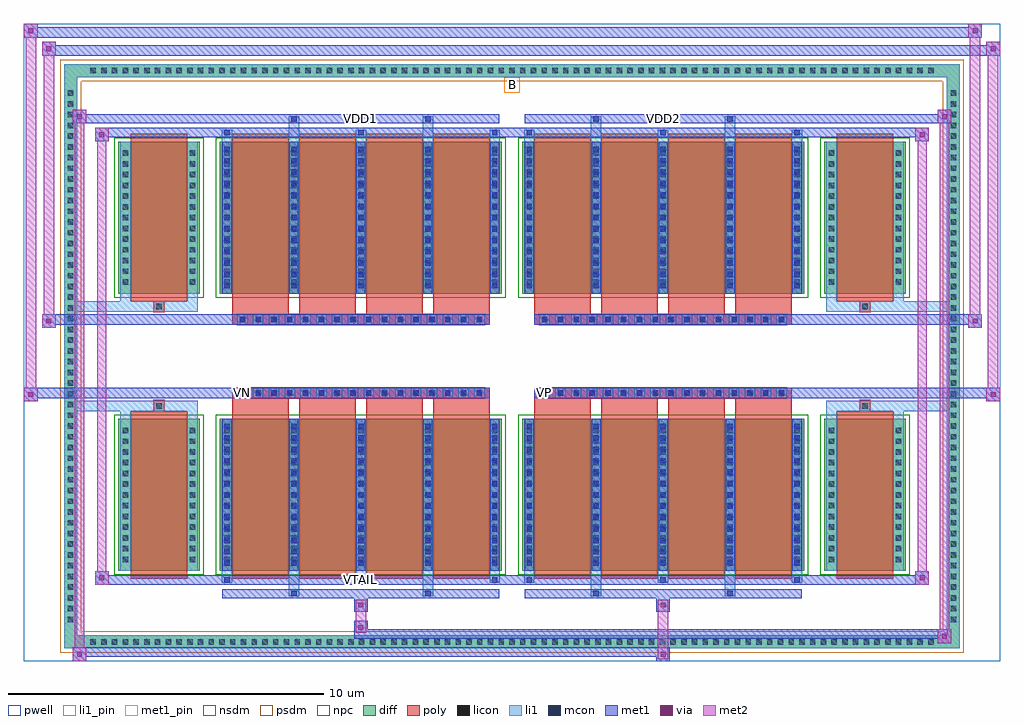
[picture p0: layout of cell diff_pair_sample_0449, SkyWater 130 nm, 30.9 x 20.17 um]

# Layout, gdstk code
import gdstk
lib = gdstk.Library(unit=1e-6, precision=5e-09)
def R(c, l, rs):  # rectangles x0, y0, x1, y1
    for r in rs: c.add(gdstk.rectangle(r[:2], r[2:], *l))
def A(c, l, x, y, w, h, nx, ny, dx, dy):  # array of equal rectangles
    R(c, l, [(x+i*dx, y+j*dy, x+i*dx+w, y+j*dy+h) for i in range(nx) for j in range(ny)])
def P(c, l, *ps):  # polygons
    for p in ps: c.add(gdstk.Polygon(p, *l))
pwell = (64, 44)
diff = (65, 20)
poly = (66, 20)
licon = (66, 44)
li1_pin = (67, 16)
li1 = (67, 20)
mcon = (67, 44)
met1_pin = (68, 16)
met1 = (68, 20)
via = (68, 44)
met2 = (69, 20)
nsdm = (93, 44)
psdm = (94, 20)
npc = (95, 20)

diff_pair_sample_0449 = lib.new_cell('diff_pair_sample_0449')
R(diff_pair_sample_0449, pwell, [(-15.45,-9.65,15.45,10.52), (-12.77,-7.84,-0.01,-0.8), (0.01,-7.84,12.77,-0.8), (-12.77,0.8,-0.01,7.84), (0.01,0.8,12.77,7.84)])
A(diff_pair_sample_0449, diff, -13.465, -9.25, 0.41, 0.41, 79, 2, 0.34, 18.09)
A(diff_pair_sample_0449, diff, -14.18, -8.535, 0.41, 0.41, 1, 50, 0, 0.34)
A(diff_pair_sample_0449, diff, 13.77, -8.535, 0.41, 0.41, 1, 50, 0, 0.34)
R(diff_pair_sample_0449, diff, [(-13.465,-9.25,13.465,-8.84), (-14.18,-8.535,-13.77,8.535), (13.77,-8.535,14.18,8.535), (-12.46,-6.795,-9.89,-1.985), (-9.25,-6.795,-0.32,-1.985), (0.32,-6.795,9.25,-1.985), (9.89,-6.795,12.46,-1.985), (-12.46,1.985,-9.89,6.795), (-9.25,1.985,-0.32,6.795), (0.32,1.985,9.25,6.795), (9.89,1.985,12.46,6.795), (-13.465,8.84,13.465,9.25)])
P(diff_pair_sample_0449, diff, [(14.18,9.25),(-14.18,9.25),(-14.18,-8.84),(-13.77,-8.84),(-13.77,8.84),(13.77,8.84),(13.77,-8.84),(-13.77,-8.84),(-14.18,-8.84),(-14.18,-9.25),(14.18,-9.25)])
A(diff_pair_sample_0449, poly, -8.86, -7.045, 1.79, 5.31, 4, 2, 2.12, 8.78)
A(diff_pair_sample_0449, poly, 0.71, -7.045, 1.79, 5.31, 4, 2, 2.12, 8.78)
A(diff_pair_sample_0449, poly, -8.86, -1.735, 1.79, 0.405, 4, 2, 2.12, 3.065)
A(diff_pair_sample_0449, poly, 0.71, -1.735, 1.79, 0.405, 4, 2, 2.12, 3.065)
A(diff_pair_sample_0449, poly, -8.7, -1.33, 0.33, 0.33, 16, 2, 0.5, 2.33)
A(diff_pair_sample_0449, poly, 0.87, -1.33, 0.33, 0.33, 16, 2, 0.5, 2.33)
R(diff_pair_sample_0449, poly, [(-12.07,-7.045,-10.28,-1.735), (10.28,-7.045,12.07,-1.735), (-11.34,-1.735,-11.01,-1.405), (-11.34,-1.735,-11.01,-1.405), (11.01,-1.735,11.34,-1.405), (11.01,-1.735,11.34,-1.405), (-8.86,-1.33,-0.71,-1), (0.71,-1.33,8.86,-1), (-8.86,1,-0.71,1.33), (0.71,1,8.86,1.33), (-11.34,1.405,-11.01,1.735), (-11.34,1.405,-11.01,1.735), (11.01,1.405,11.34,1.735), (11.01,1.405,11.34,1.735), (-12.07,1.735,-10.28,7.045), (10.28,1.735,12.07,7.045)])
A(diff_pair_sample_0449, licon, -13.345, -9.13, 0.17, 0.17, 79, 2, 0.34, 18.09)
A(diff_pair_sample_0449, licon, -14.06, -8.415, 0.17, 0.17, 1, 50, 0, 0.34)
A(diff_pair_sample_0449, licon, 13.89, -8.415, 0.17, 0.17, 1, 50, 0, 0.34)
A(diff_pair_sample_0449, licon, -12.32, -6.515, 0.17, 0.17, 1, 13, 0, 0.34)
A(diff_pair_sample_0449, licon, -10.2, -6.515, 0.17, 0.17, 1, 13, 0, 0.34)
A(diff_pair_sample_0449, licon, -9.11, -6.515, 0.17, 0.17, 5, 13, 2.12, 0.34)
A(diff_pair_sample_0449, licon, 0.46, -6.515, 0.17, 0.17, 5, 13, 2.12, 0.34)
A(diff_pair_sample_0449, licon, 10.03, -6.515, 0.17, 0.17, 1, 13, 0, 0.34)
A(diff_pair_sample_0449, licon, 12.15, -6.515, 0.17, 0.17, 1, 13, 0, 0.34)
A(diff_pair_sample_0449, licon, -8.62, -1.25, 0.17, 0.17, 16, 2, 0.5, 2.33)
A(diff_pair_sample_0449, licon, 0.95, -1.25, 0.17, 0.17, 16, 2, 0.5, 2.33)
A(diff_pair_sample_0449, licon, -12.32, 2.265, 0.17, 0.17, 1, 13, 0, 0.34)
A(diff_pair_sample_0449, licon, -10.2, 2.265, 0.17, 0.17, 1, 13, 0, 0.34)
A(diff_pair_sample_0449, licon, -9.11, 2.265, 0.17, 0.17, 5, 13, 2.12, 0.34)
A(diff_pair_sample_0449, licon, 0.46, 2.265, 0.17, 0.17, 5, 13, 2.12, 0.34)
A(diff_pair_sample_0449, licon, 10.03, 2.265, 0.17, 0.17, 1, 13, 0, 0.34)
A(diff_pair_sample_0449, licon, 12.15, 2.265, 0.17, 0.17, 1, 13, 0, 0.34)
R(diff_pair_sample_0449, licon, [(-11.26,-1.655,-11.09,-1.485), (11.09,-1.655,11.26,-1.485), (-11.26,1.485,-11.09,1.655), (11.09,1.485,11.26,1.655)])
R(diff_pair_sample_0449, li1_pin, [(-0.25,8.34,0.25,8.84)])
A(diff_pair_sample_0449, li1, -13.425, -9.21, 0.33, 0.33, 79, 2, 0.34, 18.09)
A(diff_pair_sample_0449, li1, -14.14, -8.495, 0.33, 0.33, 1, 50, 0, 0.34)
A(diff_pair_sample_0449, li1, 13.81, -8.495, 0.33, 0.33, 1, 50, 0, 0.34)
A(diff_pair_sample_0449, li1, -9.19, -7.17, 0.33, 0.375, 3, 2, 4.24, 13.965)
A(diff_pair_sample_0449, li1, -9.11, -7.17, 0.17, 0.17, 3, 2, 4.24, 14.17)
A(diff_pair_sample_0449, li1, 0.38, -7.17, 0.33, 0.375, 3, 2, 4.24, 13.965)
A(diff_pair_sample_0449, li1, 0.46, -7.17, 0.17, 0.17, 3, 2, 4.24, 14.17)
A(diff_pair_sample_0449, li1, -9.19, -6.795, 0.33, 4.81, 5, 2, 2.12, 8.78)
A(diff_pair_sample_0449, li1, 0.38, -6.795, 0.33, 4.81, 5, 2, 2.12, 8.78)
A(diff_pair_sample_0449, li1, -9.11, -6.635, 0.17, 0.17, 5, 13, 2.12, 0.36)
A(diff_pair_sample_0449, li1, -9.11, -6.635, 0.17, 4.49, 5, 2, 2.12, 8.78)
A(diff_pair_sample_0449, li1, 0.46, -6.635, 0.17, 0.17, 5, 13, 2.12, 0.36)
A(diff_pair_sample_0449, li1, 0.46, -6.635, 0.17, 4.49, 5, 2, 2.12, 8.78)
A(diff_pair_sample_0449, li1, -12.4, -6.595, 0.33, 0.33, 1, 13, 0, 0.34)
A(diff_pair_sample_0449, li1, -10.28, -6.595, 0.33, 0.33, 1, 13, 0, 0.34)
A(diff_pair_sample_0449, li1, -9.19, -6.595, 0.33, 0.33, 5, 13, 2.12, 0.34)
A(diff_pair_sample_0449, li1, 0.38, -6.595, 0.33, 0.33, 5, 13, 2.12, 0.34)
A(diff_pair_sample_0449, li1, 9.95, -6.595, 0.33, 0.33, 1, 13, 0, 0.34)
A(diff_pair_sample_0449, li1, 12.07, -6.595, 0.33, 0.33, 1, 13, 0, 0.34)
A(diff_pair_sample_0449, li1, -8.7, -1.33, 0.33, 0.33, 16, 2, 0.5, 2.33)
A(diff_pair_sample_0449, li1, 0.87, -1.33, 0.33, 0.33, 16, 2, 0.5, 2.33)
A(diff_pair_sample_0449, li1, -9.11, 2.145, 0.17, 0.17, 5, 13, 2.12, 0.36)
A(diff_pair_sample_0449, li1, 0.46, 2.145, 0.17, 0.17, 5, 13, 2.12, 0.36)
A(diff_pair_sample_0449, li1, -12.4, 2.185, 0.33, 0.33, 1, 13, 0, 0.34)
A(diff_pair_sample_0449, li1, -10.28, 2.185, 0.33, 0.33, 1, 13, 0, 0.34)
A(diff_pair_sample_0449, li1, -9.19, 2.185, 0.33, 0.33, 5, 13, 2.12, 0.34)
A(diff_pair_sample_0449, li1, 0.38, 2.185, 0.33, 0.33, 5, 13, 2.12, 0.34)
A(diff_pair_sample_0449, li1, 9.95, 2.185, 0.33, 0.33, 1, 13, 0, 0.34)
A(diff_pair_sample_0449, li1, 12.07, 2.185, 0.33, 0.33, 1, 13, 0, 0.34)
R(diff_pair_sample_0449, li1, [(-14.18,-9.25,-13.77,-8.84), (-14.18,-9.25,-13.77,-8.84), (-13.77,-9.25,13.77,-8.84), (13.77,-9.25,14.18,-8.84), (13.77,-9.25,14.18,-8.84), (-14.18,-8.84,-13.77,8.84), (13.77,-8.84,14.18,8.84), (-7.07,-7.6,-6.74,-6.795), (-6.99,-7.6,-6.82,-7.43), (-2.83,-7.6,-2.5,-6.795), (-2.75,-7.6,-2.58,-7.43), (2.5,-7.6,2.83,-6.795), (2.58,-7.6,2.75,-7.43), (6.74,-7.6,7.07,-6.795), (6.82,-7.6,6.99,-7.43), (-12.4,-6.795,-12.07,-1.985), (-10.28,-6.795,-9.95,-1.985), (9.95,-6.795,10.28,-1.985), (12.07,-6.795,12.4,-1.985), (-12.4,-1.985,-12.07,-1.405), (-10.28,-1.985,-9.95,-1.405), (9.95,-1.985,10.28,-1.405), (12.07,-1.985,12.4,-1.405), (-14.18,-1.735,-11.34,-1.405), (-12.4,-1.735,-11.34,-1.405), (-11.34,-1.735,-11.01,-1.405), (-11.01,-1.735,-9.95,-1.405), (9.95,-1.735,11.01,-1.405), (11.01,-1.735,11.34,-1.405), (11.01,-1.735,14.18,-1.405), (11.34,-1.735,12.4,-1.405), (-14.18,1.405,-11.34,1.735), (-12.4,1.405,-11.34,1.735), (-12.4,1.405,-12.07,1.985), (-11.34,1.405,-11.01,1.735), (-11.01,1.405,-9.95,1.735), (-10.28,1.405,-9.95,1.985), (9.95,1.405,11.01,1.735), (9.95,1.405,10.28,1.985), (11.01,1.405,11.34,1.735), (11.01,1.405,14.18,1.735), (11.34,1.405,12.4,1.735), (12.07,1.405,12.4,1.985), (-12.4,1.985,-12.07,6.795), (-10.28,1.985,-9.95,6.795), (9.95,1.985,10.28,6.795), (12.07,1.985,12.4,6.795), (-7.07,6.795,-6.74,7.6), (-2.83,6.795,-2.5,7.6), (2.5,6.795,2.83,7.6), (6.74,6.795,7.07,7.6), (-6.99,7.43,-6.82,7.6), (-2.75,7.43,-2.58,7.6), (2.58,7.43,2.75,7.6), (6.82,7.43,6.99,7.6), (-14.18,8.84,-13.77,9.25), (-14.18,8.84,-13.77,9.25), (-13.77,8.84,13.77,9.25), (13.77,8.84,14.18,9.25), (13.77,8.84,14.18,9.25)])
A(diff_pair_sample_0449, mcon, -9.11, -7.17, 0.17, 0.17, 3, 2, 4.24, 14.17)
A(diff_pair_sample_0449, mcon, 0.46, -7.17, 0.17, 0.17, 3, 2, 4.24, 14.17)
A(diff_pair_sample_0449, mcon, -9.11, -6.635, 0.17, 0.17, 5, 13, 2.12, 0.36)
A(diff_pair_sample_0449, mcon, 0.46, -6.635, 0.17, 0.17, 5, 13, 2.12, 0.36)
A(diff_pair_sample_0449, mcon, -8.62, -1.25, 0.17, 0.17, 16, 2, 0.5, 2.33)
A(diff_pair_sample_0449, mcon, 0.95, -1.25, 0.17, 0.17, 16, 2, 0.5, 2.33)
A(diff_pair_sample_0449, mcon, -9.11, 2.145, 0.17, 0.17, 5, 13, 2.12, 0.36)
A(diff_pair_sample_0449, mcon, 0.46, 2.145, 0.17, 0.17, 5, 13, 2.12, 0.36)
R(diff_pair_sample_0449, mcon, [(-6.99,-7.6,-6.82,-7.43), (-2.75,-7.6,-2.58,-7.43), (2.58,-7.6,2.75,-7.43), (6.82,-7.6,6.99,-7.43), (-6.99,7.43,-6.82,7.6), (-2.75,7.43,-2.58,7.6), (2.58,7.43,2.75,7.6), (6.82,7.43,6.99,7.6)])
R(diff_pair_sample_0449, met1_pin, [(-4.92,-7.21,-4.65,-6.94), (-8.67,-1.29,-8.4,-1.02), (0.9,-1.29,1.17,-1.02), (-4.92,7.39,-4.65,7.66), (4.65,7.39,4.92,7.66)])
A(diff_pair_sample_0449, met1, -9.17, -7.23, 0.29, 0.29, 3, 2, 4.24, 14.17)
A(diff_pair_sample_0449, met1, 0.4, -7.23, 0.29, 0.29, 3, 2, 4.24, 14.17)
A(diff_pair_sample_0449, met1, -9.17, -6.795, 0.29, 4.81, 5, 2, 2.12, 8.78)
A(diff_pair_sample_0449, met1, 0.4, -6.795, 0.29, 4.81, 5, 2, 2.12, 8.78)
A(diff_pair_sample_0449, met1, -9.17, -6.695, 0.29, 0.29, 5, 13, 2.12, 0.36)
A(diff_pair_sample_0449, met1, 0.4, -6.695, 0.29, 0.29, 5, 13, 2.12, 0.36)
A(diff_pair_sample_0449, met1, -8.68, -1.31, 0.29, 0.29, 16, 2, 0.5, 2.33)
A(diff_pair_sample_0449, met1, 0.89, -1.31, 0.29, 0.29, 16, 2, 0.5, 2.33)
A(diff_pair_sample_0449, met1, -9.17, 2.085, 0.29, 0.29, 5, 13, 2.12, 0.36)
A(diff_pair_sample_0449, met1, 0.4, 2.085, 0.29, 0.29, 5, 13, 2.12, 0.36)
R(diff_pair_sample_0449, met1, [(-13.91,-9.65,-13.48,-9.22), (4.57,-9.65,5,-9.22), (-13.91,-9.51,5,-9.22), (13.48,-9.08,13.91,-8.65), (-5,-8.94,13.91,-8.65), (-5,-8.8,-4.57,-8.37), (-5,-8.09,-4.57,-7.66), (4.57,-8.09,5,-7.66), (-9.17,-7.66,-0.4,-7.37), (-7.05,-7.66,-6.76,-7.37), (-2.81,-7.66,-2.52,-7.37), (0.4,-7.66,9.17,-7.37), (2.52,-7.66,2.81,-7.37), (6.76,-7.66,7.05,-7.37), (-13.2,-7.23,-12.77,-6.8), (-13.2,-7.23,-9.17,-6.94), (-9.17,-7.23,-0.4,-6.94), (-0.4,-7.23,0.4,-6.94), (0.4,-7.23,9.17,-6.94), (9.17,-7.23,13.2,-6.94), (12.77,-7.23,13.2,-6.8), (-15.45,-1.43,-15.02,-1), (15.02,-1.43,15.45,-1), (-15.45,-1.33,-0.71,-1), (-8.86,-1.33,-0.71,-1), (0.71,-1.33,8.86,-1), (0.71,-1.33,15.45,-1), (-14.88,0.9,-14.45,1.33), (14.45,0.9,14.88,1.33), (-14.88,1,-8.86,1.33), (-8.86,1,-0.71,1.33), (0.71,1,8.86,1.33), (8.86,1,14.88,1.33), (-13.2,6.8,-12.77,7.23), (12.77,6.8,13.2,7.23), (-13.2,6.94,-9.17,7.23), (-9.17,6.94,-0.4,7.23), (-0.4,6.94,0.4,7.23), (0.4,6.94,9.17,7.23), (9.17,6.94,13.2,7.23), (-13.91,7.37,-13.48,7.8), (-13.91,7.37,-9.17,7.66), (-9.17,7.37,-0.4,7.66), (-7.05,7.37,-6.76,7.66), (-2.81,7.37,-2.52,7.66), (0.4,7.37,9.17,7.66), (2.52,7.37,2.81,7.66), (6.76,7.37,7.05,7.66), (9.17,7.37,13.91,7.66), (13.48,7.37,13.91,7.8), (-14.88,9.52,-14.45,9.95), (-14.88,9.52,-12.77,9.85), (-12.77,9.52,12.77,9.85), (12.77,9.52,15.45,9.85), (15.02,9.52,15.45,9.95), (-15.45,10.09,-15.02,10.52), (-15.45,10.09,-12.77,10.42), (-12.77,10.09,12.77,10.42), (12.77,10.09,14.88,10.42), (14.45,10.09,14.88,10.52)])
R(diff_pair_sample_0449, via, [(-13.77,-9.51,-13.62,-9.36), (4.71,-9.51,4.86,-9.36), (13.62,-8.94,13.77,-8.79), (-4.86,-8.66,-4.71,-8.51), (-4.86,-7.95,-4.71,-7.8), (4.71,-7.95,4.86,-7.8), (-13.06,-7.09,-12.91,-6.94), (12.91,-7.09,13.06,-6.94), (-15.31,-1.29,-15.16,-1.14), (15.16,-1.29,15.31,-1.14), (-14.74,1.04,-14.59,1.19), (14.59,1.04,14.74,1.19), (-13.06,6.94,-12.91,7.09), (12.91,6.94,13.06,7.09), (-13.77,7.51,-13.62,7.66), (13.62,7.51,13.77,7.66), (-14.74,9.66,-14.59,9.81), (15.16,9.66,15.31,9.81), (-15.31,10.23,-15.16,10.38), (14.59,10.23,14.74,10.38)])
R(diff_pair_sample_0449, met2, [(-13.91,-9.65,-13.48,-9.22), (-13.84,-9.65,-13.55,7.8), (-13.55,-9.65,-13.48,-9.22), (-13.86,-9.6,-13.53,-9.27), (4.62,-9.6,4.95,-9.27), (4.62,-9.27,4.95,-8.04), (13.48,-9.08,13.91,-8.65), (13.55,-9.08,13.84,7.8), (13.84,-9.08,13.91,-8.65), (13.53,-9.03,13.86,-8.7), (-4.95,-8.75,-4.62,-8.42), (-4.95,-8.42,-4.62,-8.04), (-4.95,-8.04,-4.62,-7.71), (4.62,-8.04,4.95,-7.71), (-13.2,-7.23,-12.77,-6.8), (-13.13,-7.23,-12.84,7.23), (-12.84,-7.23,-12.77,-6.8), (12.77,-7.23,13.2,-6.8), (12.84,-7.23,13.13,7.23), (13.13,-7.23,13.2,-6.8), (-13.15,-7.18,-12.82,-6.85), (12.82,-7.18,13.15,-6.85), (-15.45,-1.43,-15.02,-1), (-15.4,-1.43,-15.07,10.52), (-15.07,-1.43,-15.02,-1), (15.02,-1.43,15.45,-1), (15.07,-1.43,15.4,9.95), (15.4,-1.43,15.45,-1), (-15.4,-1.38,-15.07,-1.05), (15.07,-1.38,15.4,-1.05), (-14.88,0.9,-14.45,1.33), (-14.83,0.9,-14.5,9.95), (-14.5,0.9,-14.45,1.33), (14.45,0.9,14.88,1.33), (14.5,0.9,14.83,10.52), (14.83,0.9,14.88,1.33), (-14.83,0.95,-14.5,1.28), (14.5,0.95,14.83,1.28), (-13.2,6.8,-12.77,7.23), (-12.84,6.8,-12.77,7.23), (12.77,6.8,13.2,7.23), (13.13,6.8,13.2,7.23), (-13.15,6.85,-12.82,7.18), (12.82,6.85,13.15,7.18), (-13.91,7.37,-13.48,7.8), (-13.55,7.37,-13.48,7.8), (13.48,7.37,13.91,7.8), (13.84,7.37,13.91,7.8), (-13.86,7.42,-13.53,7.75), (13.53,7.42,13.86,7.75), (-14.88,9.52,-14.45,9.95), (-14.5,9.52,-14.45,9.95), (15.02,9.52,15.45,9.95), (15.4,9.52,15.45,9.95), (-14.83,9.57,-14.5,9.9), (15.07,9.57,15.4,9.9), (-15.45,10.09,-15.02,10.52), (-15.07,10.09,-15.02,10.52), (14.45,10.09,14.88,10.52), (14.83,10.09,14.88,10.52), (-15.4,10.14,-15.07,10.47), (14.5,10.14,14.83,10.47)])
R(diff_pair_sample_0449, nsdm, [(-12.59,-6.925,-9.76,-1.855), (-9.38,-6.925,-0.19,-1.855), (0.19,-6.925,9.38,-1.855), (9.76,-6.925,12.59,-1.855), (-12.59,1.855,-9.76,6.925), (-9.38,1.855,-0.19,6.925), (0.19,1.855,9.38,6.925), (9.76,1.855,12.59,6.925)])
P(diff_pair_sample_0449, psdm, [(14.31,9.38),(-14.31,9.38),(-14.31,-8.71),(-13.64,-8.71),(-13.64,8.71),(13.64,8.71),(13.64,-8.71),(-13.64,-8.71),(-14.31,-8.71),(-14.31,-9.38),(14.31,-9.38)])
A(diff_pair_sample_0449, npc, -8.72, -1.35, 0.37, 0.37, 16, 2, 0.5, 2.33)
A(diff_pair_sample_0449, npc, 0.85, -1.35, 0.37, 0.37, 16, 2, 0.5, 2.33)
R(diff_pair_sample_0449, npc, [(-11.36,-1.755,-10.99,-1.385), (10.99,-1.755,11.36,-1.385), (-8.72,-1.35,-7.85,-0.98), (-8.72,-1.35,-7.85,-0.98), (-8.22,-1.35,-7.35,-0.98), (-8.22,-1.35,-7.35,-0.98), (-7.72,-1.35,-6.85,-0.98), (-7.72,-1.35,-6.85,-0.98), (-7.22,-1.35,-6.35,-0.98), (-7.22,-1.35,-6.35,-0.98), (-6.72,-1.35,-5.85,-0.98), (-6.72,-1.35,-5.85,-0.98), (-6.22,-1.35,-5.35,-0.98), (-6.22,-1.35,-5.35,-0.98), (-5.72,-1.35,-4.85,-0.98), (-5.72,-1.35,-4.85,-0.98), (-5.22,-1.35,-4.35,-0.98), (-5.22,-1.35,-4.35,-0.98), (-4.72,-1.35,-3.85,-0.98), (-4.72,-1.35,-3.85,-0.98), (-4.22,-1.35,-3.35,-0.98), (-4.22,-1.35,-3.35,-0.98), (-3.72,-1.35,-2.85,-0.98), (-3.72,-1.35,-2.85,-0.98), (-3.22,-1.35,-2.35,-0.98), (-3.22,-1.35,-2.35,-0.98), (-2.72,-1.35,-1.85,-0.98), (-2.72,-1.35,-1.85,-0.98), (-2.22,-1.35,-1.35,-0.98), (-2.22,-1.35,-1.35,-0.98), (-1.72,-1.35,-0.85,-0.98), (-1.72,-1.35,-0.85,-0.98), (0.85,-1.35,1.72,-0.98), (0.85,-1.35,1.72,-0.98), (1.35,-1.35,2.22,-0.98), (1.35,-1.35,2.22,-0.98), (1.85,-1.35,2.72,-0.98), (1.85,-1.35,2.72,-0.98), (2.35,-1.35,3.22,-0.98), (2.35,-1.35,3.22,-0.98), (2.85,-1.35,3.72,-0.98), (2.85,-1.35,3.72,-0.98), (3.35,-1.35,4.22,-0.98), (3.35,-1.35,4.22,-0.98), (3.85,-1.35,4.72,-0.98), (3.85,-1.35,4.72,-0.98), (4.35,-1.35,5.22,-0.98), (4.35,-1.35,5.22,-0.98), (4.85,-1.35,5.72,-0.98), (4.85,-1.35,5.72,-0.98), (5.35,-1.35,6.22,-0.98), (5.35,-1.35,6.22,-0.98), (5.85,-1.35,6.72,-0.98), (5.85,-1.35,6.72,-0.98), (6.35,-1.35,7.22,-0.98), (6.35,-1.35,7.22,-0.98), (6.85,-1.35,7.72,-0.98), (6.85,-1.35,7.72,-0.98), (7.35,-1.35,8.22,-0.98), (7.35,-1.35,8.22,-0.98), (7.85,-1.35,8.72,-0.98), (7.85,-1.35,8.72,-0.98), (-8.72,0.98,-7.85,1.35), (-8.72,0.98,-7.85,1.35), (-8.22,0.98,-7.35,1.35), (-8.22,0.98,-7.35,1.35), (-7.72,0.98,-6.85,1.35), (-7.72,0.98,-6.85,1.35), (-7.22,0.98,-6.35,1.35), (-7.22,0.98,-6.35,1.35), (-6.72,0.98,-5.85,1.35), (-6.72,0.98,-5.85,1.35), (-6.22,0.98,-5.35,1.35), (-6.22,0.98,-5.35,1.35), (-5.72,0.98,-4.85,1.35), (-5.72,0.98,-4.85,1.35), (-5.22,0.98,-4.35,1.35), (-5.22,0.98,-4.35,1.35), (-4.72,0.98,-3.85,1.35), (-4.72,0.98,-3.85,1.35), (-4.22,0.98,-3.35,1.35), (-4.22,0.98,-3.35,1.35), (-3.72,0.98,-2.85,1.35), (-3.72,0.98,-2.85,1.35), (-3.22,0.98,-2.35,1.35), (-3.22,0.98,-2.35,1.35), (-2.72,0.98,-1.85,1.35), (-2.72,0.98,-1.85,1.35), (-2.22,0.98,-1.35,1.35), (-2.22,0.98,-1.35,1.35), (-1.72,0.98,-0.85,1.35), (-1.72,0.98,-0.85,1.35), (0.85,0.98,1.72,1.35), (0.85,0.98,1.72,1.35), (1.35,0.98,2.22,1.35), (1.35,0.98,2.22,1.35), (1.85,0.98,2.72,1.35), (1.85,0.98,2.72,1.35), (2.35,0.98,3.22,1.35), (2.35,0.98,3.22,1.35), (2.85,0.98,3.72,1.35), (2.85,0.98,3.72,1.35), (3.35,0.98,4.22,1.35), (3.35,0.98,4.22,1.35), (3.85,0.98,4.72,1.35), (3.85,0.98,4.72,1.35), (4.35,0.98,5.22,1.35), (4.35,0.98,5.22,1.35), (4.85,0.98,5.72,1.35), (4.85,0.98,5.72,1.35), (5.35,0.98,6.22,1.35), (5.35,0.98,6.22,1.35), (5.85,0.98,6.72,1.35), (5.85,0.98,6.72,1.35), (6.35,0.98,7.22,1.35), (6.35,0.98,7.22,1.35), (6.85,0.98,7.72,1.35), (6.85,0.98,7.72,1.35), (7.35,0.98,8.22,1.35), (7.35,0.98,8.22,1.35), (7.85,0.98,8.72,1.35), (7.85,0.98,8.72,1.35), (-11.36,1.385,-10.99,1.755), (10.99,1.385,11.36,1.755)])
diff_pair_sample_0449.add(gdstk.Label('VTAIL', (-4.785,-7.075), layer=68, texttype=5))
diff_pair_sample_0449.add(gdstk.Label('VN', (-8.535,-1.155), layer=68, texttype=5))
diff_pair_sample_0449.add(gdstk.Label('VP', (1.035,-1.155), layer=68, texttype=5))
diff_pair_sample_0449.add(gdstk.Label('B', (0,8.59), layer=67, texttype=5))
diff_pair_sample_0449.add(gdstk.Label('VDD2', (4.785,7.525), layer=68, texttype=5))
diff_pair_sample_0449.add(gdstk.Label('VDD1', (-4.785,7.525), layer=68, texttype=5))

lib.write_gds('diff_pair_sample_0449.gds')
